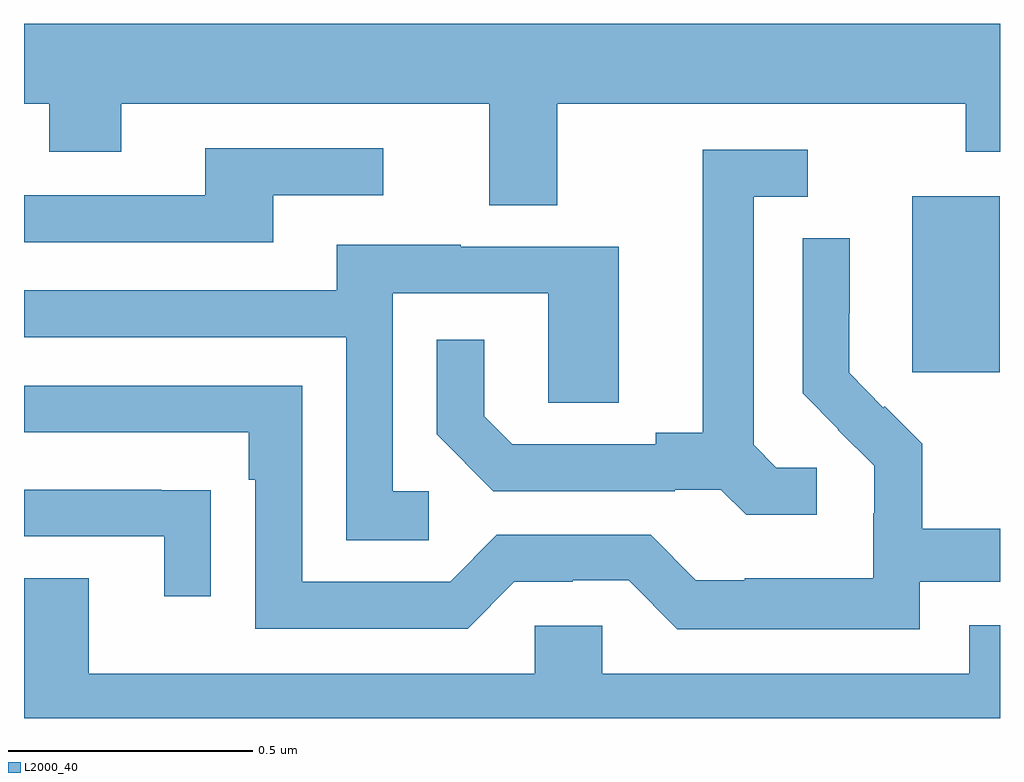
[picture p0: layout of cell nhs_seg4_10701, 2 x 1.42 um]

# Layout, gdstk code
import gdstk
lib = gdstk.Library(unit=1e-6, precision=1e-09)
def R(c, l, rs):  # rectangles x0, y0, x1, y1
    for r in rs: c.add(gdstk.rectangle(r[:2], r[2:], *l))
def P(c, l, *ps):  # polygons
    for p in ps: c.add(gdstk.Polygon(p, *l))
L2000_40 = (2000, 40)

nhs_seg4_10701 = lib.new_cell('nhs_seg4_10701')
R(nhs_seg4_10701, L2000_40, [(244.82,789.609,244.999,789.97)])
P(nhs_seg4_10701, L2000_40, [(244.093,790.16),(244.93,790.16),(244.93,790.061),(245,790.061),(245,790.324),(243,790.324),(243,790.16),(243.052,790.16),(243.052,790.061),(243.199,790.061),(243.199,790.16),(243.953,790.16),(243.953,789.952),(244.093,789.952)],
  [(243.511,789.972),(243.736,789.972),(243.736,790.068),(243.371,790.068),(243.371,789.972),(243,789.972),(243,789.876),(243.511,789.876)],
  [(244.624,789.414),(244.542,789.414),(244.495,789.461),(244.495,789.969),(244.606,789.969),(244.606,790.065),(244.391,790.065),(244.391,789.485),(244.295,789.485),(244.295,789.462),(244,789.462),(243.943,789.519),(243.943,789.676),(243.846,789.676),(243.846,789.482),(243.962,789.366),(244.334,789.366),(244.334,789.369),(244.428,789.369),(244.48,789.317),(244.624,789.317)],
  [(244.836,789.18),(245,789.18),(245,789.289),(244.841,789.289),(244.841,789.463),(244.764,789.54),(244.761,789.537),(244.691,789.608),(244.691,789.73),(244.692,789.73),(244.692,789.884),(244.596,789.884),(244.596,789.566),(244.669,789.493),(244.668,789.492),(244.742,789.418),(244.742,789.321),(244.74,789.321),(244.74,789.187),(244.477,789.187),(244.477,789.183),(244.377,789.183),(244.284,789.276),(243.969,789.276),(243.873,789.18),(243.57,789.18),(243.57,789.582),(243,789.582),(243,789.486),(243.461,789.486),(243.461,789.389),(243.474,789.389),(243.474,789.084),(243.909,789.084),(244.005,789.18),(244.124,789.18),(244.124,789.183),(244.239,789.183),(244.339,789.083),(244.836,789.083)],
  [(243.829,789.366),(243.756,789.366),(243.756,789.771),(244.074,789.771),(244.074,789.547),(244.219,789.547),(244.219,789.867),(243.895,789.867),(243.895,789.871),(243.641,789.871),(243.641,789.777),(243.001,789.777),(243.001,789.681),(243.66,789.681),(243.66,789.265),(243.829,789.265)],
  [(243.383,789.368),(243.281,789.368),(243.281,789.369),(243,789.369),(243,789.273),(243.287,789.273),(243.287,789.15),(243.383,789.15)],
  [(245,789.091),(244.937,789.091),(244.937,788.992),(244.185,788.992),(244.185,789.09),(244.047,789.09),(244.047,788.992),(243.133,788.992),(243.133,789.187),(243,789.187),(243,788.9),(245,788.9)])

lib.write_gds('nhs_seg4_10701.gds')
